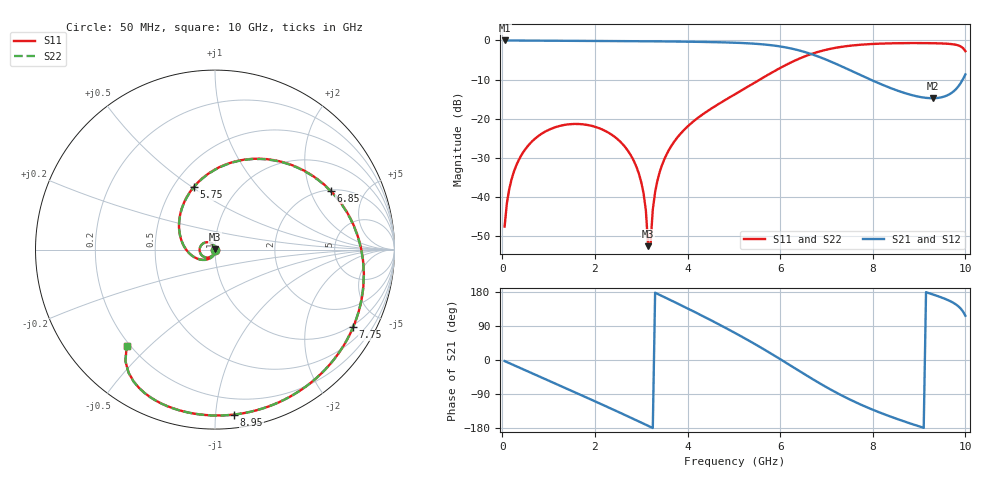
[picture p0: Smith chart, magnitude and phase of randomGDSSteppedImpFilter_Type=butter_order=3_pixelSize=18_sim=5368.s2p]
! freq	dB(S11)	phase(S11)	dB(S12)	phase(S12)
!  dB(S21)	phase(S21)	dB(S22)	phase(S22)
!S-par simulation data
#  GHz  S  DB  R 50
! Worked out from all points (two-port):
!   200 points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, 50 MHz to 10 GHz, reference 50 ohm
!   highest |S21| = -0.01 dB at 50 MHz (marker M1); lowest = -14.8 dB at 9.3 GHz (marker M2)
!   |S21| within 3 dB of the highest: start of sweep to 6.547 GHz
!   lowest |S11| = -52.5 dB at 3.15 GHz (marker M3), VSWR 1.00, Z = 50.1 + j0.23 ohm
!   |S11| at or under -10 dB: start of sweep to 5.559 GHz
!   |S22| runs from -50.4 to -0.7 dB; largest |S21 - S12| = 0
!   S11 on the Smith chart (normalised r, x): 50 MHz: 1.00, -0.01; 5.75 GHz: 0.63, +0.51; 6.85 GHz: 2.04, +2.80; 7.75 GHz: 0.92, -3.60; 8.95 GHz: 0.09, -1.12; 10 GHz: 0.19, -0.43
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0.05  -47.50 -91.4  -0.01 -2.8  -0.01 -2.8  -47.51 -91.4
0.2  -35.45 -100.2  -0.02 -11.0  -0.02 -11.0  -35.46 -100.2
0.5  -27.72 -117.1  -0.04 -27.3  -0.04 -27.3  -27.73 -117.2
1.15  -22.13 -153.3  -0.10 -62.5  -0.10 -62.5  -22.13 -153.5
1.75  -21.43 173.6  -0.14 -95.2  -0.14 -95.2  -21.43 173.2
2.8  -29.83 114.2  -0.19 -153.7  -0.19 -153.7  -29.82 112.1
3.05  -39.02 97.4  -0.21 -168.0  -0.21 -168.0  -38.90 91.1
3.15  -52.52 76.6  -0.22 -173.7  -0.22 -173.7  -50.44 53.5
3.2  -52.15 -64.5  -0.22 -176.6  -0.22 -176.6  -50.14 -44.4
3.25  -43.16 -84.1  -0.22 -179.5  -0.22 -179.5  -42.86 -74.0
3.4  -33.57 -97.1  -0.24 171.8  -0.24 171.8  -33.54 -93.7
4.3  -19.11 -153.1  -0.37 117.8  -0.37 117.8  -19.11 -152.8
5.05  -13.56 158.1  -0.60 69.7  -0.60 69.7  -13.56 158.0
5.75  -8.69 108.9  -1.14 20.9  -1.14 20.9  -8.69 108.5
6.2  -5.81 75.3  -1.96 -12.7  -1.96 -12.7  -5.81 74.9
6.7  -3.36 37.8  -3.59 -50.4  -3.59 -50.4  -3.36 37.5
6.85  -2.82 27.0  -4.23 -61.3  -4.23 -61.3  -2.82 26.7
7.75  -1.08 -29.3  -8.92 -118.2  -8.92 -118.2  -1.08 -29.6
8.35  -0.75 -58.6  -12.00 -147.9  -12.00 -147.9  -0.75 -58.8
8.95  -0.68 -83.5  -14.26 -173.1  -14.26 -173.1  -0.68 -83.6
9.3  -0.71 -97.0  -14.76 173.0  -14.76 173.0  -0.71 -97.1
10  -2.74 -132.5  -8.69 116.7  -8.69 116.7  -2.73 -132.4
